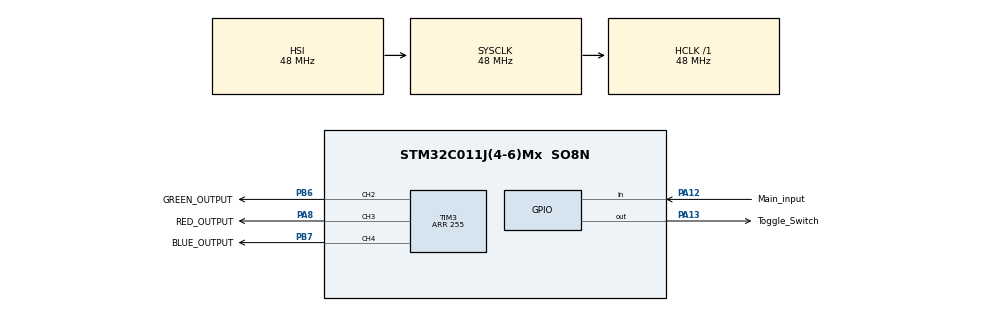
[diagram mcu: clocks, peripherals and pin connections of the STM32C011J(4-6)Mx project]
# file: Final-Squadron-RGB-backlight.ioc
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Mcu.Family=STM32C0
Mcu.Name=STM32C011J(4-6)Mx
Mcu.Package=SO8N
PA12\ [PA10].GPIO_Label=Main_input
PA12\ [PA10].GPIO_PuPd=GPIO_PULLUP
PA12\ [PA10].Signal=GPIO_Input
PA13.GPIO_Label=Toggle_Switch
PA13.GPIO_PuPd=GPIO_PULLDOWN
PA13.Signal=GPIO_Output
PA8.GPIO_Label=RED_OUTPUT
PA8.Signal=S_TIM3_CH3
PA8__PA11\ [PA9].StandardMode=true
PB6.GPIO_Label=GREEN_OUTPUT
PB6.Signal=S_TIM3_CH2
PB7.GPIO_Label=BLUE_OUTPUT
PB7.Signal=S_TIM3_CH4
PC14-OSCX_IN\ (PC14)__PB7.StandardMode=true
PC15-OSCX_OUT\ (PC15)__PA14-BOOT0__PB6.StandardMode=true
PF2-NRST__PA0__PA1__PA2.StandardMode=true
ProjectManager.HeapSize=0x200
ProjectManager.StackSize=0x400
ProjectManager.TargetToolchain=STM32CubeIDE
RCC.ADCFreq_Value=48000000
RCC.AHBFreq_Value=48000000
RCC.CortexFreq_Value=48000000
RCC.EXTERNAL_CLOCK_VALUE=12288000
RCC.FLatency=FLASH_LATENCY_1
RCC.HCLKFreq_Value=48000000
RCC.HSE_VALUE=8000000
RCC.HSISYSCLKDivider=RCC_HSI_DIV1
RCC.HSI_VALUE=48000000
RCC.LSE_VALUE=32768
RCC.SYSCLKFreq_VALUE=48000000
SH.S_TIM3_CH2.0=TIM3_CH2,PWM Generation2 CH2
SH.S_TIM3_CH3.0=TIM3_CH3,PWM Generation3 CH3
SH.S_TIM3_CH4.0=TIM3_CH4,PWM Generation4 CH4
TIM3.AutoReloadPreload=TIM_AUTORELOAD_PRELOAD_ENABLE
TIM3.Channel-PWM\ Generation2\ CH2=TIM_CHANNEL_2
TIM3.Channel-PWM\ Generation3\ CH3=TIM_CHANNEL_3
TIM3.Channel-PWM\ Generation4\ CH4=TIM_CHANNEL_4
TIM3.Period=255
board=custom

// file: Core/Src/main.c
/* USER CODE BEGIN Header */

/*
 ________  ________        ___  ________          ________  _______   ________  ___  ________  ________   ________
|\   __  \|\   __  \      |\  \|\   __  \        |\   ___ \|\  ___ \ |\   ____\|\  \|\   ____\|\   ___  \|\   ____\
\ \  \|\ /\ \  \|\  \     \ \  \ \  \|\  \       \ \  \_|\ \ \   __/|\ \  \___|\ \  \ \  \___|\ \  \\ \  \ \  \___|_
 \ \   __  \ \   __  \  __ \ \  \ \   __  \       \ \  \ \\ \ \  \_|/_\ \_____  \ \  \ \  \  __\ \  \\ \  \ \_____  \
  \ \  \|\  \ \  \ \  \|\  \\_\  \ \  \ \  \       \ \  \_\\ \ \  \_|\ \|____|\  \ \  \ \  \|\  \ \  \\ \  \|____|\  \
   \ \_______\ \__\ \__\ \________\ \__\ \__\       \ \_______\ \_______\____\_\  \ \__\ \_______\ \__\\ \__\____\_\  \
    \|_______|\|__|\|__|\|________|\|__|\|__|        \|_______|\|_______|\_________\|__|\|_______|\|__| \|__|\_________\
                                                                        \|_________|                        \|_________|

 ________  ________  ___  ___  ________  ________  ________  ________  ________            _______      ________
|\   ____\|\   __  \|\  \|\  \|\   __  \|\   ___ \|\   __  \|\   __  \|\   ___  \         /  ___  \    |\   __  \
\ \  \___|\ \  \|\  \ \  \\\  \ \  \|\  \ \  \_|\ \ \  \|\  \ \  \|\  \ \  \\ \  \       /__/|_/  /|   \ \  \|\  \
 \ \_____  \ \  \\\  \ \  \\\  \ \   __  \ \  \ \\ \ \   _  _\ \  \\\  \ \  \\ \  \      |__|//  / /    \ \  \\\  \
  \|____|\  \ \  \\\  \ \  \\\  \ \  \ \  \ \  \_\\ \ \  \\  \\ \  \\\  \ \  \\ \  \         /  /_/__  __\ \  \\\  \
    ____\_\  \ \_____  \ \_______\ \__\ \__\ \_______\ \__\\ _\\ \_______\ \__\\ \__\       |\________\\__\ \_______\
   |\_________\|___| \__\|_______|\|__|\|__|\|_______|\|__|\|__|\|_______|\|__| \|__|        \|_______\|__|\|_______|
   \|_________|     \|__|
*/

/**
  ******************************************************************************
  * @file           : main.c
  * @brief          : Main program body
  ******************************************************************************
  * @attention
  *
  * Copyright (c) 2023 STMicroelectronics.
  * All rights reserved.
  *
  * This software is licensed under terms that can be found in the LICENSE file
  * in the root directory of this software component.
  * If no LICENSE file comes with this software, it is provided AS-IS.
  *
  ******************************************************************************
  */
/* USER CODE END Header */
#include "main.h"

/* USER CODE BEGIN Includes */
#include <stdbool.h>

/* USER CODE END Includes */

TIM_HandleTypeDef htim3;

void SystemClock_Config(void);
static void MX_GPIO_Init(void);
static void MX_TIM3_Init(void);

int main(void)
{

  /* MCU Configuration--------------------------------------------------------*/

  /* Reset of all peripherals, Initializes the Flash interface and the Systick. */
  HAL_Init();

  /* Configure the system clock */
  SystemClock_Config();

  /* Initialize all configured peripherals */
  MX_GPIO_Init();
  MX_TIM3_Init();
  /* USER CODE BEGIN 2 */
  HAL_TIM_PWM_Start(&htim3, TIM_CHANNEL_3); // Red
  HAL_TIM_PWM_Start(&htim3, TIM_CHANNEL_2); // Green
  HAL_TIM_PWM_Start(&htim3, TIM_CHANNEL_4); // Blue

	uint8_t sins[360] = {
		127,129,131,134,136,138,140,143,145,147,149,151,154,156,158,160,162,164,166,169,171,173,175,177,179,181,183,185,187,189,191,193,195,196,198,200,
		202,204,205,207,209,211,212,214,216,217,219,220,222,223,225,226,227,229,230,231,233,234,235,236,237,239,240,241,242,243,243,244,245,246,247,248,
		248,249,250,250,251,251,252,252,253,253,253,254,254,254,254,254,254,254,255,254,254,254,254,254,254,254,253,253,253,252,252,251,251,250,250,249,
		248,248,247,246,245,244,243,243,242,241,240,239,237,236,235,234,233,231,230,229,227,226,225,223,222,220,219,217,216,214,212,211,209,207,205,204,
		202,200,198,196,195,193,191,189,187,185,183,181,179,177,175,173,171,169,166,164,162,160,158,156,154,151,149,147,145,143,140,138,136,134,131,129,
		127,125,123,120,118,116,114,111,109,107,105,103,100,98,96,94,92,90,88,85,83,81,79,77,75,73,71,69,67,65,63,61,59,58,56,54,
		52,50,49,47,45,43,42,40,38,37,35,34,32,31,29,28,27,25,24,23,21,20,19,18,17,15,14,13,12,11,11,10,9,8,7,6,
		6,5,4,4,3,3,2,2,1,1,1,0,0,0,0,0,0,0,0,0,0,0,0,0,0,1,1,1,2,2,3,3,4,4,5,
		6,6,7,8,9,10,11,11,12,13,14,15,17,18,19,20,21,23,24,25,27,28,29,31,32,34,35,37,38,40,42,43,45,47,49,50,
		52,54,56,58,59,61,63,65,67,69,71,73,75,77,79,81,83,85,88,90,92,94,96,98,100,103,105,107,109,111,114,116,118,120,123,125
	};

  uint32_t led_off_tick;

enum button_state_e {
    BUTTON_NOT_PRESSED,
    BUTTON_JUST_PRESSED,
    BUTTON_PRESSED
};

static enum button_state_e button_state = BUTTON_NOT_PRESSED;
static uint8_t color_sequence = 0;

void red_sequence_full(void) {
	  __HAL_TIM_SET_COMPARE(&htim3, TIM_CHANNEL_3, 230); // Red
	  __HAL_TIM_SET_COMPARE(&htim3, TIM_CHANNEL_2, 0); // Green
	  __HAL_TIM_SET_COMPARE(&htim3, TIM_CHANNEL_4, 0); // Blue
};

void green_sequence_full(void) {
	  __HAL_TIM_SET_COMPARE(&htim3, TIM_CHANNEL_3, 0); // Red
	  __HAL_TIM_SET_COMPARE(&htim3, TIM_CHANNEL_2, 230); // Green
	  __HAL_TIM_SET_COMPARE(&htim3, TIM_CHANNEL_4, 0); // Blue
};

void blue_sequence_full(void) {
	  __HAL_TIM_SET_COMPARE(&htim3, TIM_CHANNEL_3, 0); // Red
	  __HAL_TIM_SET_COMPARE(&htim3, TIM_CHANNEL_2, 0); // Green
	  __HAL_TIM_SET_COMPARE(&htim3, TIM_CHANNEL_4, 230); // Blue
};

void pink_sequence_full(void) {
	  __HAL_TIM_SET_COMPARE(&htim3, TIM_CHANNEL_3, 230); // Red
	  __HAL_TIM_SET_COMPARE(&htim3, TIM_CHANNEL_2, 0); // Green
	  __HAL_TIM_SET_COMPARE(&htim3, TIM_CHANNEL_4, 50); // Blue
};

void teal_sequence_full(void) {
	  __HAL_TIM_SET_COMPARE(&htim3, TIM_CHANNEL_3, 0); // Red
	  __HAL_TIM_SET_COMPARE(&htim3, TIM_CHANNEL_2, 230); // Green
	  __HAL_TIM_SET_COMPARE(&htim3, TIM_CHANNEL_4, 230); // Blue
};

void yellow_sequence_full(void) {
	  __HAL_TIM_SET_COMPARE(&htim3, TIM_CHANNEL_3, 230); // Red
	  __HAL_TIM_SET_COMPARE(&htim3, TIM_CHANNEL_2, 140); // Green
	  __HAL_TIM_SET_COMPARE(&htim3, TIM_CHANNEL_4, 0); // Blue
};

void orange_sequence_full(void) {
	  __HAL_TIM_SET_COMPARE(&htim3, TIM_CHANNEL_3, 230); // Red
	  __HAL_TIM_SET_COMPARE(&htim3, TIM_CHANNEL_2, 25); // Green
	  __HAL_TIM_SET_COMPARE(&htim3, TIM_CHANNEL_4, 0); // Blue
};

void purple_sequence_full(void) {
	  __HAL_TIM_SET_COMPARE(&htim3, TIM_CHANNEL_3, 230); // Red
	  __HAL_TIM_SET_COMPARE(&htim3, TIM_CHANNEL_2, 0); // Green
	  __HAL_TIM_SET_COMPARE(&htim3, TIM_CHANNEL_4, 230); // Blue
};

void white_sequence_full(void) {
	  __HAL_TIM_SET_COMPARE(&htim3, TIM_CHANNEL_3, 230); // Red
	  __HAL_TIM_SET_COMPARE(&htim3, TIM_CHANNEL_2, 230); // Green
	  __HAL_TIM_SET_COMPARE(&htim3, TIM_CHANNEL_4, 230); // Blue
};

void party_sequence_full(void) {

    int i = 0;

    while (1) {
        for (i = 0; i < 360; i++) {
            __HAL_TIM_SET_COMPARE(&htim3, TIM_CHANNEL_3, sins[i]); // Red
            __HAL_TIM_SET_COMPARE(&htim3, TIM_CHANNEL_2, sins[(i + 120) % 360]); // Green
            __HAL_TIM_SET_COMPARE(&htim3, TIM_CHANNEL_4, sins[(i + 240) % 360]); // Blue

            HAL_Delay(2);

            if (HAL_GPIO_ReadPin(Toggle_Switch_GPIO_Port, Toggle_Switch_Pin) != GPIO_PIN_SET)
                return;
        }
    }
};

void red_sequence_half() {
	  __HAL_TIM_SET_COMPARE(&htim3, TIM_CHANNEL_3, 115); // Red
	  __HAL_TIM_SET_COMPARE(&htim3, TIM_CHANNEL_2, 0); // Green
	  __HAL_TIM_SET_COMPARE(&htim3, TIM_CHANNEL_4, 0); // Blue
}
void green_sequence_half() {
	  __HAL_TIM_SET_COMPARE(&htim3, TIM_CHANNEL_3, 0); // Red
	  __HAL_TIM_SET_COMPARE(&htim3, TIM_CHANNEL_2, 115); // Green
	  __HAL_TIM_SET_COMPARE(&htim3, TIM_CHANNEL_4, 0); // Blue
}
void blue_sequence_half() {
	  __HAL_TIM_SET_COMPARE(&htim3, TIM_CHANNEL_3, 0); // Red
	  __HAL_TIM_SET_COMPARE(&htim3, TIM_CHANNEL_2, 0); // Green
	  __HAL_TIM_SET_COMPARE(&htim3, TIM_CHANNEL_4, 115); // Blue
}
void pink_sequence_half() {
	  __HAL_TIM_SET_COMPARE(&htim3, TIM_CHANNEL_3, 115); // Red
	  __HAL_TIM_SET_COMPARE(&htim3, TIM_CHANNEL_2, 0); // Green
	  __HAL_TIM_SET_COMPARE(&htim3, TIM_CHANNEL_4, 25); // Blue
}
void teal_sequence_half() {
	  __HAL_TIM_SET_COMPARE(&htim3, TIM_CHANNEL_3, 0); // Red
	  __HAL_TIM_SET_COMPARE(&htim3, TIM_CHANNEL_2, 115); // Green
	  __HAL_TIM_SET_COMPARE(&htim3, TIM_CHANNEL_4, 115); // Blue
}
void yellow_sequence_half() {
	  __HAL_TIM_SET_COMPARE(&htim3, TIM_CHANNEL_3, 115); // Red
	  __HAL_TIM_SET_COMPARE(&htim3, TIM_CHANNEL_2, 120); // Green
	  __HAL_TIM_SET_COMPARE(&htim3, TIM_CHANNEL_4, 0); // Blue
}
void orange_sequence_half() {
	  __HAL_TIM_SET_COMPARE(&htim3, TIM_CHANNEL_3, 115); // Red
	  __HAL_TIM_SET_COMPARE(&htim3, TIM_CHANNEL_2, 13); // Green
	  __HAL_TIM_SET_COMPARE(&htim3, TIM_CHANNEL_4, 0); // Blue
}
void purple_sequence_half() {
	  __HAL_TIM_SET_COMPARE(&htim3, TIM_CHANNEL_3, 115); // Red
	  __HAL_TIM_SET_COMPARE(&htim3, TIM_CHANNEL_2, 0); // Green
	  __HAL_TIM_SET_COMPARE(&htim3, TIM_CHANNEL_4, 115); // Blue
}
void white_sequence_half() {
	  __HAL_TIM_SET_COMPARE(&htim3, TIM_CHANNEL_3, 115); // Red
	  __HAL_TIM_SET_COMPARE(&htim3, TIM_CHANNEL_2, 115); // Green
	  __HAL_TIM_SET_COMPARE(&htim3, TIM_CHANNEL_4, 115); // Blue
}

void party_sequence_half(void) {

    int i = 0;

    while (1) {
        for (i = 0; i < 360; i++) {
            __HAL_TIM_SET_COMPARE(&htim3, TIM_CHANNEL_3, sins[i] / 2); // Red
            __HAL_TIM_SET_COMPARE(&htim3, TIM_CHANNEL_2, sins[(i + 120) % 360] / 2); // Green
            __HAL_TIM_SET_COMPARE(&htim3, TIM_CHANNEL_4, sins[(i + 240) % 360] / 2); // Blue

            HAL_Delay(2);

            if (HAL_GPIO_ReadPin(Toggle_Switch_GPIO_Port, Toggle_Switch_Pin) != GPIO_PIN_SET)
                  return;
        }
    }
};

void switch_off_all_leds(void)
{
    __HAL_TIM_SET_COMPARE(&htim3, TIM_CHANNEL_3, 0); // Red
    __HAL_TIM_SET_COMPARE(&htim3, TIM_CHANNEL_2, 0); // Green
    __HAL_TIM_SET_COMPARE(&htim3, TIM_CHANNEL_4, 0); // Blue
};

  /* USER CODE END 2 */

  /* Infinite loop */
  while (1)
  {

    /* USER CODE BEGIN 3 */

	  // Toggle button state
		 bool pressed = (HAL_GPIO_ReadPin(Toggle_Switch_GPIO_Port, Toggle_Switch_Pin) == GPIO_PIN_SET);

		 // Check to see if Main_input is seeing 12v or 24v
		 if(HAL_GPIO_ReadPin(Main_input_GPIO_Port, Main_input_Pin) == GPIO_PIN_SET) {

		    switch (button_state)
		    {
		        case BUTTON_NOT_PRESSED:
		            if (pressed)
		                button_state = BUTTON_JUST_PRESSED;
		            break;

		        case BUTTON_JUST_PRESSED:
		            if (pressed)
		            {
		                button_state = BUTTON_PRESSED;

		                if ((HAL_GetTick() - led_off_tick) < 2000u)
		                    color_sequence = (color_sequence + 1) % 10;

		                switch (color_sequence) {

	                    case 0:
	                    	red_sequence_full();
	                        break;
	                    case 1:
	                        green_sequence_full();
	                        break;
	                    case 2:
	                        blue_sequence_full();
	                        break;
	                    case 3:
	                        pink_sequence_full();
	                        break;
	                    case 4:
	                        teal_sequence_full();
	                        break;
	                    case 5:
	                        yellow_sequence_full();
	                        break;
	                    case 6:
	                        orange_sequence_full();
	                        break;
	                    case 7:
	                        purple_sequence_full();
	                        break;
	                    case 8:
	                        white_sequence_full();
	                        break;
	                    case 9:
	                        party_sequence_full();
	                        break;
		                }
		            }
		            else
		                button_state = BUTTON_NOT_PRESSED;
		            break;

		        case BUTTON_PRESSED:
		            if (!pressed)
		            {
		                button_state = BUTTON_NOT_PRESSED;
		                switch_off_all_leds();
		                led_off_tick = HAL_GetTick();
		            }
		            break;
		    }

		    // If 24v change color brightness to half
		 } else {

			    switch (button_state)
			    {
			        case BUTTON_NOT_PRESSED:
			            if (pressed)
			                button_state = BUTTON_JUST_PRESSED;
			            break;

			        case BUTTON_JUST_PRESSED:
			            if (pressed)
			            {
			                button_state = BUTTON_PRESSED;

			                if ((HAL_GetTick() - led_off_tick) < 2000u)
			                    color_sequence = (color_sequence + 1) % 10;

			                switch (color_sequence) {

		                    case 0:
		                        red_sequence_half();
		                        break;
		                    case 1:
		                        green_sequence_half();
		                        break;
		                    case 2:
		                        blue_sequence_half();
		                        break;
		                    case 3:
		                        pink_sequence_half();
		                        break;
		                    case 4:
		                        teal_sequence_half();
		                        break;
		                    case 5:
		                        yellow_sequence_half();
		                        break;
		                    case 6:
		                        orange_sequence_half();
		                        break;
		                    case 7:
		                        purple_sequence_half();
		                        break;
		                    case 8:
		                        white_sequence_half();
		                        break;
		                    case 9:
		                        party_sequence_half();
		                        break;
			                }
			            }
			            else
			                button_state = BUTTON_NOT_PRESSED;
			            break;

			        case BUTTON_PRESSED:
			            if (!pressed)
			            {
			                button_state = BUTTON_NOT_PRESSED;
			                switch_off_all_leds();
			                led_off_tick = HAL_GetTick();
			            }

			            break;
			    }

		 }

		    HAL_Delay(10);
  }
  /* USER CODE END 3 */
}

void SystemClock_Config(void)
{
  RCC_OscInitTypeDef RCC_OscInitStruct = {0};
  RCC_ClkInitTypeDef RCC_ClkInitStruct = {0};

  /** Initializes the RCC Oscillators according to the specified parameters
  * in the RCC_OscInitTypeDef structure.
  */
  RCC_OscInitStruct.OscillatorType = RCC_OSCILLATORTYPE_HSI;
  RCC_OscInitStruct.HSIState = RCC_HSI_ON;
  RCC_OscInitStruct.HSIDiv = RCC_HSI_DIV1;
  RCC_OscInitStruct.HSICalibrationValue = RCC_HSICALIBRATION_DEFAULT;
  if (HAL_RCC_OscConfig(&RCC_OscInitStruct) != HAL_OK)
  {
    Error_Handler();
  }

  /** Initializes the CPU, AHB and APB buses clocks
  */
  RCC_ClkInitStruct.ClockType = RCC_CLOCKTYPE_HCLK|RCC_CLOCKTYPE_SYSCLK
                              |RCC_CLOCKTYPE_PCLK1;
  RCC_ClkInitStruct.SYSCLKSource = RCC_SYSCLKSOURCE_HSI;
  RCC_ClkInitStruct.SYSCLKDivider = RCC_SYSCLK_DIV1;
  RCC_ClkInitStruct.AHBCLKDivider = RCC_HCLK_DIV1;
  RCC_ClkInitStruct.APB1CLKDivider = RCC_APB1_DIV1;

  if (HAL_RCC_ClockConfig(&RCC_ClkInitStruct, FLASH_LATENCY_1) != HAL_OK)
  {
    Error_Handler();
  }
}

static void MX_TIM3_Init(void)
{

  TIM_MasterConfigTypeDef sMasterConfig = {0};
  TIM_OC_InitTypeDef sConfigOC = {0};

  htim3.Instance = TIM3;
  htim3.Init.Prescaler = 0;
  htim3.Init.CounterMode = TIM_COUNTERMODE_UP;
  htim3.Init.Period = 255;
  htim3.Init.ClockDivision = TIM_CLOCKDIVISION_DIV1;
  htim3.Init.AutoReloadPreload = TIM_AUTORELOAD_PRELOAD_ENABLE;
  if (HAL_TIM_PWM_Init(&htim3) != HAL_OK)
  {
    Error_Handler();
  }
  sMasterConfig.MasterOutputTrigger = TIM_TRGO_RESET;
  sMasterConfig.MasterSlaveMode = TIM_MASTERSLAVEMODE_DISABLE;
  if (HAL_TIMEx_MasterConfigSynchronization(&htim3, &sMasterConfig) != HAL_OK)
  {
    Error_Handler();
  }
  sConfigOC.OCMode = TIM_OCMODE_PWM1;
  sConfigOC.Pulse = 0;
  sConfigOC.OCPolarity = TIM_OCPOLARITY_HIGH;
  sConfigOC.OCFastMode = TIM_OCFAST_DISABLE;
  if (HAL_TIM_PWM_ConfigChannel(&htim3, &sConfigOC, TIM_CHANNEL_2) != HAL_OK)
  {
    Error_Handler();
  }
  if (HAL_TIM_PWM_ConfigChannel(&htim3, &sConfigOC, TIM_CHANNEL_3) != HAL_OK)
  {
    Error_Handler();
  }
  if (HAL_TIM_PWM_ConfigChannel(&htim3, &sConfigOC, TIM_CHANNEL_4) != HAL_OK)
  {
    Error_Handler();
  }
  HAL_TIM_MspPostInit(&htim3);

}

static void MX_GPIO_Init(void)
{
  GPIO_InitTypeDef GPIO_InitStruct = {0};

  /* GPIO Ports Clock Enable */
  __HAL_RCC_GPIOB_CLK_ENABLE();
  __HAL_RCC_GPIOA_CLK_ENABLE();

  /*Configure GPIO pin Output Level */
  HAL_GPIO_WritePin(Toggle_Switch_GPIO_Port, Toggle_Switch_Pin, GPIO_PIN_RESET);

  /*Configure GPIO pin : Main_input_Pin */
  GPIO_InitStruct.Pin = Main_input_Pin;
  GPIO_InitStruct.Mode = GPIO_MODE_INPUT;
  GPIO_InitStruct.Pull = GPIO_PULLUP;
  HAL_GPIO_Init(Main_input_GPIO_Port, &GPIO_InitStruct);

  /*Configure GPIO pin : Toggle_Switch_Pin */
  GPIO_InitStruct.Pin = Toggle_Switch_Pin;
  GPIO_InitStruct.Mode = GPIO_MODE_OUTPUT_PP;
  GPIO_InitStruct.Pull = GPIO_PULLDOWN;
  GPIO_InitStruct.Speed = GPIO_SPEED_FREQ_LOW;
  HAL_GPIO_Init(Toggle_Switch_GPIO_Port, &GPIO_InitStruct);

}

void Error_Handler(void)
{
  __disable_irq();
  while (1)
  {
  }
}
